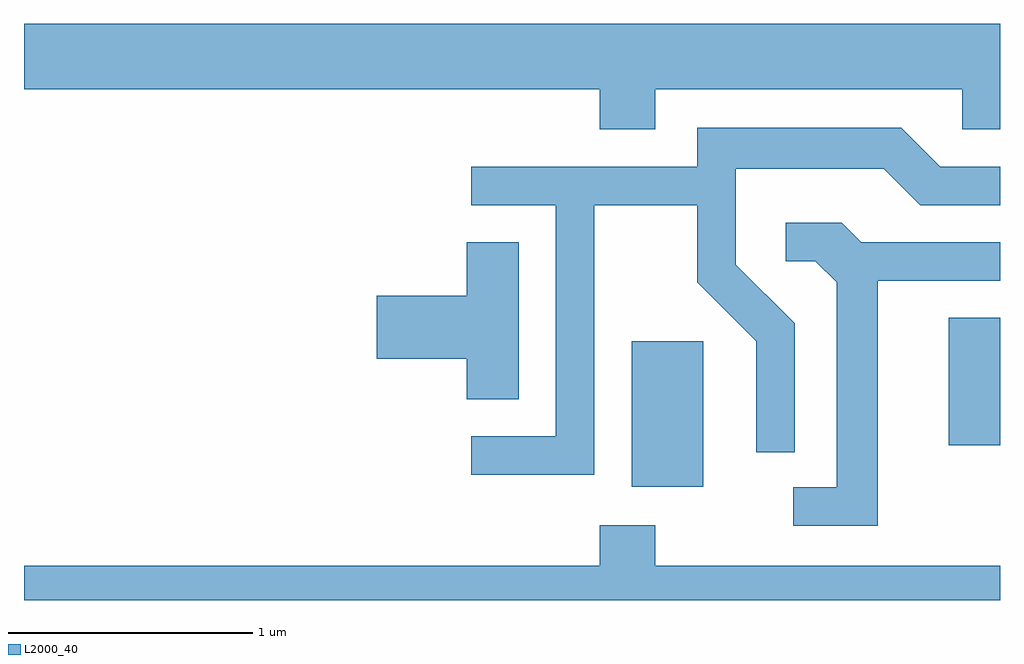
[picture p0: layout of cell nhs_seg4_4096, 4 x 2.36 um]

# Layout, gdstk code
import gdstk
lib = gdstk.Library(unit=1e-6, precision=1e-09)
def R(c, l, rs):  # rectangles x0, y0, x1, y1
    for r in rs: c.add(gdstk.rectangle(r[:2], r[2:], *l))
def P(c, l, *ps):  # polygons
    for p in ps: c.add(gdstk.Polygon(p, *l))
L2000_40 = (2000, 40)

nhs_seg4_4096 = lib.new_cell('nhs_seg4_4096')
R(nhs_seg4_4096, L2000_40, [(308.101,1286.446,308.394,1287.044), (309.401,1286.616,309.611,1287.139)])
P(nhs_seg4_4096, L2000_40, [(305.611,1288.076),(307.971,1288.076),(307.971,1287.911),(308.199,1287.911),(308.199,1288.076),(309.456,1288.076),(309.456,1287.911),(309.611,1287.911),(309.611,1288.344),(305.611,1288.344)],
  [(307.949,1287.601),(308.371,1287.601),(308.371,1287.284),(308.611,1287.044),(308.611,1286.588),(308.769,1286.588),(308.769,1287.117),(308.529,1287.357),(308.529,1287.751),(309.134,1287.751),(309.284,1287.601),(309.611,1287.601),(309.611,1287.759),(309.367,1287.759),(309.207,1287.919),(308.371,1287.919),(308.371,1287.759),(307.443,1287.759),(307.443,1287.601),(307.791,1287.601),(307.791,1286.654),(307.443,1286.654),(307.443,1286.496),(307.949,1286.496)],
  [(309.109,1287.291),(309.611,1287.291),(309.611,1287.449),(309.042,1287.449),(308.962,1287.529),(308.733,1287.529),(308.733,1287.371),(308.854,1287.371),(308.941,1287.284),(308.941,1286.444),(308.763,1286.444),(308.763,1286.286),(309.109,1286.286)],
  [(307.639,1287.449),(307.426,1287.449),(307.426,1287.229),(307.056,1287.229),(307.056,1286.971),(307.426,1286.971),(307.426,1286.806),(307.639,1286.806)],
  [(309.611,1286.124),(308.199,1286.124),(308.199,1286.289),(307.971,1286.289),(307.971,1286.124),(305.611,1286.124),(305.611,1285.982),(309.611,1285.982)])

lib.write_gds('nhs_seg4_4096.gds')
